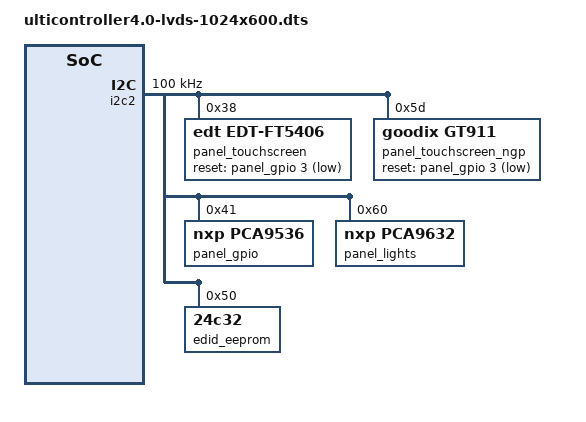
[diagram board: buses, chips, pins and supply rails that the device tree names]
/*
 * Copyright (C) 2020 - Ultimaker B.V.
 * Copyright (C) 2020 - Raymond Siudak <raysiudak@gmail.com>
*/

#include "ultimainboard5-lvds.dtsi"

/ {
    panel-lvds {
        width-mm = <155>;
        height-mm = <86>;
        
        data-mapping = "vesa-24";
            
        panel-timing {
            clock-frequency = <51206400>;
            hactive = <1024>;
            vactive = <600>;
            hsync-len = <2>;
            hfront-porch = <120>;
            hback-porch = <120>;
            vsync-len = <20>;
            vfront-porch = <30>;
            vback-porch = <180>;
        };
    };
};

&i2c2 {
    clock-frequency = <100000>;
    panel_touchscreen: ft5426@38 {
        compatible = "edt,edt-ft5406";
        reg = <0x38>;
        poll-interval = <30>;
        reset-gpios = <&panel_gpio 3 GPIO_ACTIVE_LOW>;
        touchscreen-size-x = <1024>;
        touchscreen-size-y = <600>;
        touchscreen-inverted-x;
        touchscreen-inverted-y;
    };
    panel_touchscreen_ngp: gt928@5d {
        compatible = "goodix,gt911";
        reg = <0x5d>;
        reset-gpios = <&panel_gpio 3 GPIO_ACTIVE_LOW>;
        touchscreen-size-x = <1024>;
        touchscreen-size-y = <600>;
    };

    panel_gpio: pca9536@41 {
        compatible = "nxp,pca9536";
        gpio-controller;
        #gpio-cells = <2>;
        reg = <0x41>;
        gpio-line-names = "BUZZER_EN", "DOOR", "DISP_RST", "TOUCH_RST";
    };

    panel_lights: pca9632@60 {
        compatible = "nxp,pca9632";
        #address-cells = <1>;
        #size-cells = <0>;
        reg = <0x60>;
        nxp,totem-pole;
        nxp,hw-blink;
        panel_backlight: backlight@3 {
            label = "white:panel_backlight";
            reg = <3>;
            linux,default-trigger = "default-on";
        };
    };

    edid_eeprom: 24c32@50 { /* 24LC02B 2K Microchip EEPROM */
        // compatible = "24c32", "atmel,24c32";
        compatible = "24c32";
        reg = <0x50>;
        pagesize = <32>;
        size = <4096>;  // 32Kb (4KB) EEPROM size
    };
};

